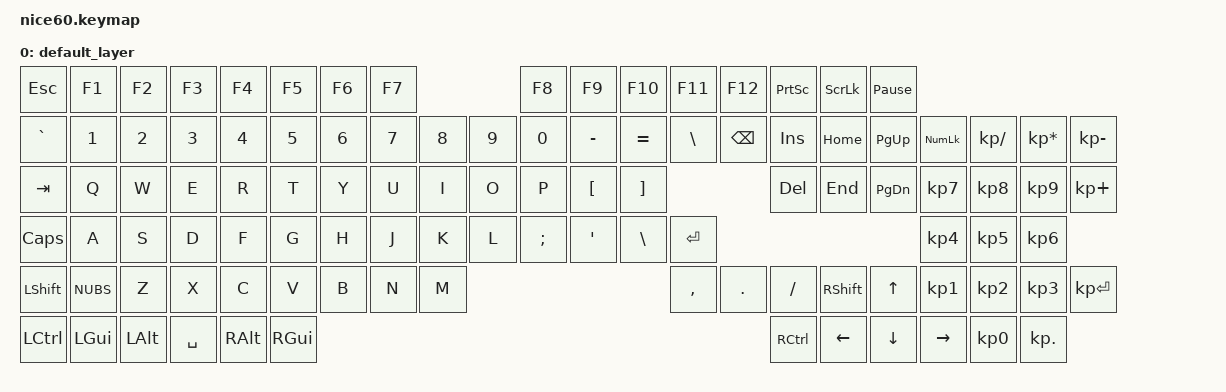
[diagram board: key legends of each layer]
/*
 * Copyright (c) 2021 Nick Winans
 *
 * SPDX-License-Identifier: MIT
 */

#include <behaviors.dtsi>
#include <dt-bindings/zmk/keys.h>
#include <dt-bindings/zmk/rgb.h>
#include <dt-bindings/zmk/bt.h>
#include "keys_es.h"

/{
    keymap {
        compatible = "zmk,keymap";

        default_layer {
// |ESC|  | F1| F2| F3| F4|| F5| F6| F7| F8|| F9| F10| F11| F12|  |IMP|BLO|PAU|
// | º | 1 | 2 | 3 | 4 | 5 | 6 | 7 | 8 | 9 | 0 | ' | ¡ | ç | ← |  |INS|INI|REP|  | NL| / | * | - |
// | TAB | Q | W | E | R | T | Y | U | I | O | P | ` | + |     |  |SUP|FIN|AVP|  | 7 | 8 | 9 | + |
// | BLOQ | A | S | D | F | G | H | J | K | L | Ñ | ´ |ç*|ENTER|                 | 4 | 5 | 6 |
// |SHIFT| < | Z | X | C | V | B | N | M | , | . | - |  SHIFT  |      | ↑ |      | 1 | 2 | 3 |ENT|
// | CTRL |WIN| ALT |       SPACE BAR         | ALT |WIN| CTRL |  | ← | ↓ | → |  |   0   | . |
    /* En el teclado 102 no se usarán RC(10,0) RC(1,6) RC(0,6)
    map = <
    RC(0,0)         RC(0,1) RC(6,1) RC(0,2) RC(5,2)      RC(3,3) RC(9,3) RC(3,4) RC(8,4)      RC(2,5) RC(8,5) RC(2,6) RC(4,6)   RC(9,6) RC(2,7) RC(7,7)
    RC(1,0) RC(6,0) RC(1,1) RC(7,1) RC(1,2) RC(6,2) RC(10,2) RC(4,3) RC(10,3) RC(4,4) RC(9,4) RC(3,5) RC(9,5) RC(3,6) RC(5,6)  RC(10,6) RC(3,7) RC(8,7)  RC(0,8) RC(5,8) RC(9,8) RC(3,9)
    RC(2,0)   RC(7,0) RC(2,1) RC(8,1) RC(2,2) RC(7,2) RC(0,3) RC(5,3)  RC(0,4) RC(5,4) RC(10,4) RC(4,5) RC(10,5)                RC(0,7) RC(4,7) RC(9,7)  RC(1,8) RC(6,8) RC(10,8) RC(4,9)
    RC(3,0)    RC(8,0) RC(3,1) RC(9,1) RC(3,2) RC(8,2) RC(1,3) RC(6,3)  RC(1,4) RC(6,4) RC(0,5) RC(5,5) RC(0,6)   RC(6,6)                                RC(2,8) RC(7,8) RC(0,9)
    RC(4,0)  RC(9,0) RC(4,1) RC(10,1) RC(4,2) RC(9,2) RC(2,3) RC(7,3)  RC(2,4) RC(7,4) RC(1,5) RC(6,5)         RC(7,6)                  RC(5,7)          RC(3,8) RC(8,8) RC(1,9) RC(5,9)
    RC(5,0)   RC(10,0) RC(5,1)                              RC(8,3)                            RC(7,5)   RC(1,6)   RC(8,6)      RC(1,7) RC(6,7) RC(10,7)     RC(4,8)      RC(2,9)
            >;RC(fila,col)
     */
        bindings = <
        &kp ESC            &kp F1   &kp F2   &kp F3   &kp F4       &kp F5  &kp F6   &kp F7   &kp F8          &kp F9   &kp F10   &kp F11   &kp F12     &kp PSCRN &kp SLCK &kp PAUSE_BREAK
        &kp GRAVE &kp N1   &kp N2   &kp N3   &kp N4   &kp N5   &kp N6   &kp N7   &kp N8   &kp N9    &kp N0   &kp MINUS &kp EQUAL &kp BSLH &kp BSPC    &kp INS   &kp HOME &kp PG_UP       &kp KP_NUM  &kp KP_DIVIDE &kp KP_MULTIPLY   &kp KP_MINUS
        &kp TAB   &kp Q    &kp W    &kp E    &kp R    &kp T    &kp Y    &kp U    &kp I    &kp O     &kp P    &kp LBKT  &kp RBKT                       &kp DEL   &kp END  &kp PG_DN       &kp KP_N7   &kp KP_N8     &kp KP_N9         &kp KP_PLUS
        &kp CLCK  &kp A    &kp S    &kp D    &kp F    &kp G    &kp H    &kp J    &kp K    &kp L     &kp SEMI &kp SQT   &kp BSLH      &kp RET                                             &kp KP_N4   &kp KP_N5     &kp KP_N6
        &kp LSHFT &kp NUBS &kp Z    &kp X    &kp C    &kp V    &kp B    &kp N    &kp M    &kp COMMA &kp DOT  &kp FSLH         &kp RSHFT                         &kp UP                   &kp KP_N1   &kp KP_N2     &kp KP_N3         &kp KP_ENTER
        &kp LCTRL &kp LGUI &kp LALT                            &kp SPACE                                     &kp RALT  &kp RGUI   &kp RCTRL           &kp LEFT  &kp DOWN &kp RIGHT            &kp KP_N0                 &kp KP_DOT
        >;

        };
    };
};
 // FILAS       | COLUMNAS
 // 0.06 fila 0 | 0.29 col 0
 // 0.08 fila 1 | 0.02 col 1
 // 0.17 fila 2 | 1.15 col 2
 // 0.20 fila 3 | 1.13 col 3
 // 0.22 fila 4 | 1.11 col 4
 // 0.24 fila 5 | 0.10 col 5
 // 1.00 fila 6 | 0.09 col 6
 // 0.11 fila 7 | 1.01 col 7
 // 1.04 fila 8 | 1.02 col 8
 // 1.06 fila 9 | 1.07 col 9
 // 0.31 fila10 |

/*original
{
    keymap {
        compatible = "zmk,keymap";

        default_layer {
// ------------------------------------------------------------------------------------------
// | ESC |  1  |  2  |  3  |  4  |  5  |  6  |  7  |  8  |  9  |  0  |  -  |  =  |   BSPC   |
// | TAB  |  Q  |  W  |  E  |  R  |  T  |  Y  |  U  |  I  |  O  |  P  |  [  |  ]  |   "|"   |
// | CAPS  |  A  |  S  |  D  |  F  |  G  |  H  |  J  |  K  |  L  |  ;  |  '  |     ENTER    |
// |  SHIFT  |  Z  |  X  |  C  |  V  |  B  |  N  |  M  |  ,  |  .  |  /  |      SHIFT       |
// |  CTL  |  WIN  |  ALT  |            SPACE              |  ALT  |  WIN  |  MO(1) |  CTL  |
// ------------------------------------------------------------------------------------------
            bindings = <
    &gresc  &kp N1 &kp N2 &kp N3 &kp N4 &kp N5 &kp N6 &kp N7 &kp N8 &kp N9 &kp N0 &kp MINUS &kp EQUAL  &kp BSPC
    &kp TAB  &kp Q  &kp W  &kp E  &kp R  &kp T  &kp Y  &kp U  &kp I  &kp O  &kp P  &kp LBKT  &kp RBKT  &kp BSLH
    &kp CLCK  &kp A  &kp S  &kp D  &kp F  &kp G  &kp H  &kp J  &kp K  &kp L  &kp SEMI &kp SQT           &kp RET
    &kp LSHFT   &kp Z  &kp X  &kp C  &kp V  &kp B  &kp N  &kp M  &kp COMMA &kp DOT &kp FSLH           &kp RSHFT
    &kp LCTRL &kp LGUI &kp LALT             &kp SPACE                     &kp RALT  &kp RGUI  &mo 1   &kp RCTRL
            >;
        };

        rgb_layer {
// ------------------------------------------------------------------------------------------------
// | BT CLR | F1  | F2  | F3  | F4  | F5  | F6  | F7  | F8  | F9  | F10  | F11 | F12 | EFFECT REV |
// |  BT 1   |   |  UP |   | HUEUP | SATUP | BRIUP | SPDUP |   |     |    |     |     |           |
// |   BT 2   | LT |  DN  | RT | HUEDN | SATDN | BRIDN | SPDDN |   |     |   |     |  EFFECT FORW |
// |    BT 3     |     |      |      |     |     |     |     |     |     |     |                  |
// |   BT 4  |      |      |             TOG RGB                | PRT SCR |       |       |  DEL  |
// ------------------------------------------------------------------------------------------------
            bindings = <
    &bt BT_CLR   &kp F1    &kp F2    &kp F3  &kp F4           &kp F5          &kp F6          &kp F7          &kp F8   &kp F9   &kp F10  &kp F11 &kp F12  &rgb_ug RGB_EFR
    &bt BT_SEL 0  &trans    &kp UP    &trans  &rgb_ug RGB_HUI  &rgb_ug RGB_SAI &rgb_ug RGB_BRI &rgb_ug RGB_SPI  &trans   &trans   &trans   &trans  &trans          &trans
    &bt BT_SEL 1   &kp LEFT  &kp DOWN  &kp RIGHT &rgb_ug RGB_HUD &rgb_ug RGB_SAD &rgb_ug RGB_BRD &rgb_ug RGB_SPD &trans   &trans   &trans   &trans        &rgb_ug RGB_EFF
    &bt BT_SEL 2    &trans    &trans    &trans   &trans          &trans          &trans          &trans          &trans   &trans   &trans                          &trans
    &bt BT_SEL 3  &trans   &trans                            &rgb_ug RGB_TOG                                      &kp PSCRN      &trans      &trans               &kp DEL
            >;
        };
    };
};*/

// ==========================================================================================================
// |ESC|  | F1| F2| F3| F4|| F5| F6| F7| F8|| F9| F10| F11| F12|  |IMP|BLO|PAU|
// ==========================================================================================================
// | º | 1 | 2 | 3 | 4 | 5 | 6 | 7 | 8 | 9 | 0 | ' | ¡ | ç | ← |  |INS|INI|REP|  | NL| / | * | - |
// ----------------------------------------------------------------------------------------------------------
// | TAB | Q | W | E | R | T | Y | U | I | O | P | ` | + |     |  |SUP|FIN|AVP|  | 7 | 8 | 9 | + |
// ----------------------------------------------------------------------------------------------------------
// | BLOQ | A | S | D | F | G | H | J | K | L | Ñ | ´ |ç*|ENTER|                 | 4 | 5 | 6 |
// ----------------------------------------------------------------------------------------------------------
// |SHIFT| < | Z | X | C | V | B | N | M | , | . | - |  SHIFT  |      | ↑ |      | 1 | 2 | 3 |ENT|
// ----------------------------------------------------------------------------------------------------------
// | CTRL |WIN| ALT |       SPACE BAR         | ALT |WIN| CTRL |  | ← | ↓ | → |  |   0   | . |
// ==========================================================================================================
